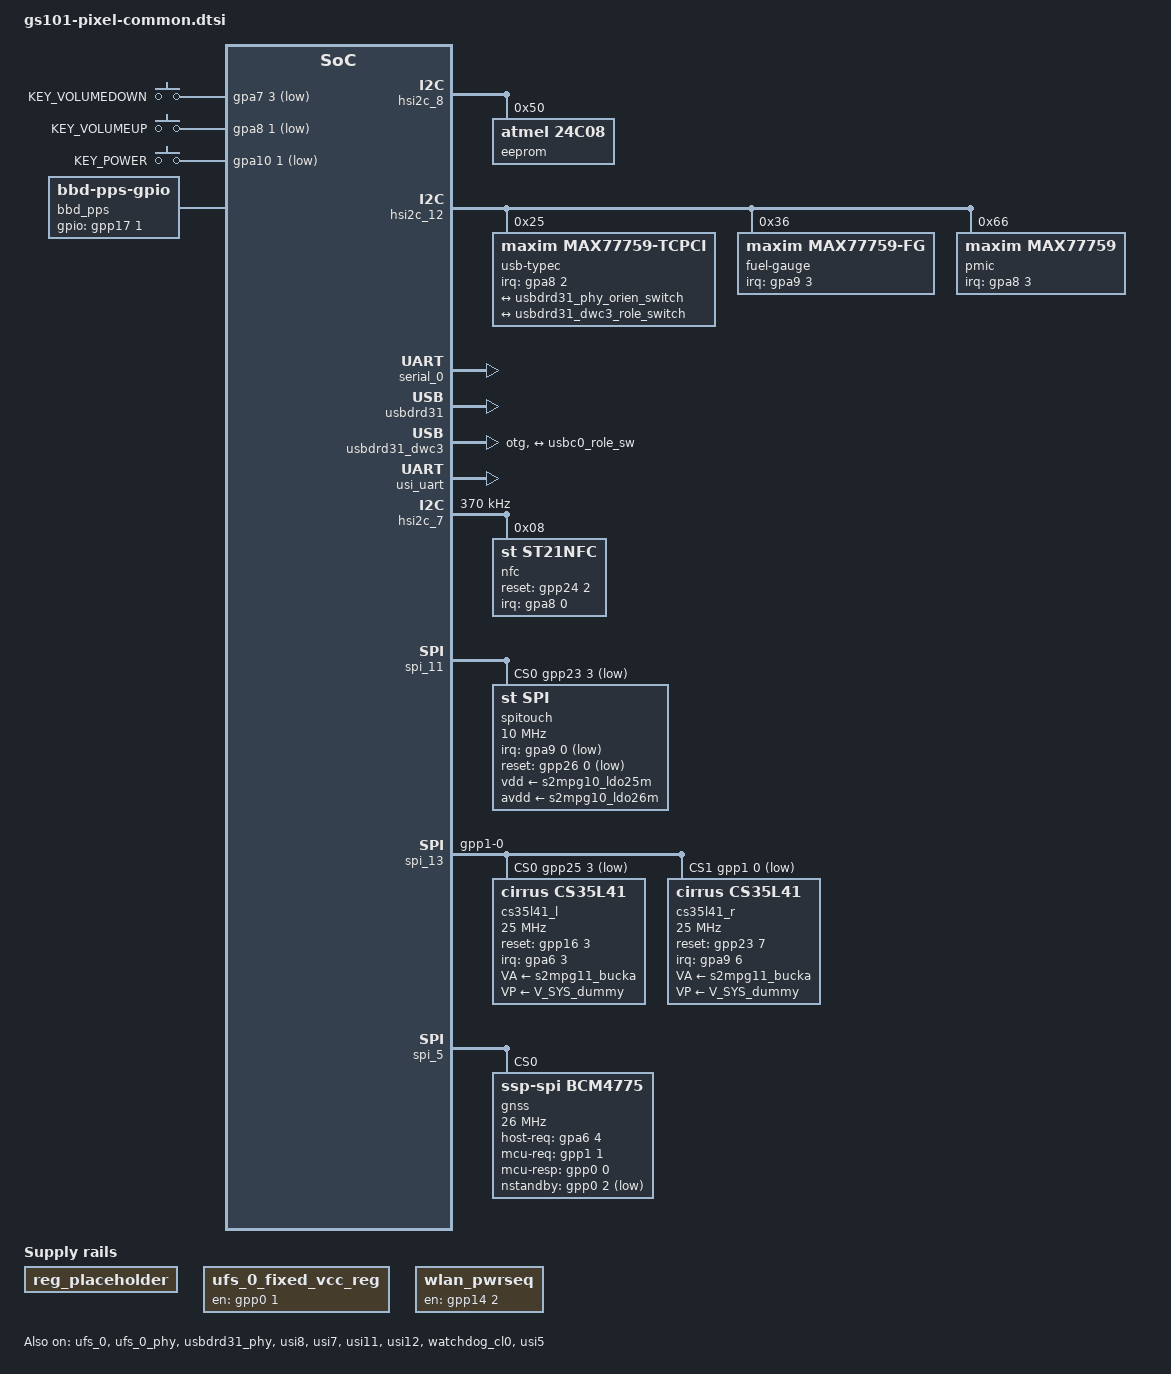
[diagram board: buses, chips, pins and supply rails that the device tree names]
// SPDX-License-Identifier: GPL-2.0-only
/*
 * Device Tree nodes common for all GS101-based Pixel
 *
 * Copyright 2021-2023 Google LLC
 * Copyright 2023 Linaro Ltd - <peter.griffin@linaro.org>
 */

/dts-v1/;

#include <dt-bindings/gpio/gpio.h>
#include <dt-bindings/input/input.h>
#include <dt-bindings/regulator/samsung,s2mpg10-regulator.h>
#include <dt-bindings/usb/pd.h>
#include "gs101-pinctrl.h"
#include "gs101.dtsi"
#include "gs101-audio.dtsi"
#include "gs101-cp-rmem.dtsi"
#include "gs101-cp-nodes.dtsi"
#include "gs101-cp-spi.dtsi"

/ {
	aliases {
		serial0 = &serial_0;
	};

	chosen {
		/* Bootloader expects bootargs specified otherwise it crashes */
		bootargs = "";
		stdout-path = &serial_0;

		/* Use display framebuffer as setup by bootloader */
		framebuffer0: framebuffer-0 {
			compatible = "simple-framebuffer";
			memory-region = <&cont_splash_mem>;
			vci-supply = <&s2mpg10_ldo22m>;
			vddi-supply = <&s2mpg11_bucka>;
			/* format properties to be added by actual board */
			status = "disabled";
		};
	};

	gpio-keys {
		compatible = "gpio-keys";
		pinctrl-0 = <&key_voldown>, <&key_volup>, <&key_power>;
		pinctrl-names = "default";

		button-vol-down {
			label = "KEY_VOLUMEDOWN";
			linux,code = <KEY_VOLUMEDOWN>;
			gpios = <&gpa7 3 GPIO_ACTIVE_LOW>;
			wakeup-source;
		};

		button-vol-up {
			label = "KEY_VOLUMEUP";
			linux,code = <KEY_VOLUMEUP>;
			gpios = <&gpa8 1 GPIO_ACTIVE_LOW>;
			wakeup-source;
		};

		button-power {
			label = "KEY_POWER";
			linux,code = <KEY_POWER>;
			gpios = <&gpa10 1 GPIO_ACTIVE_LOW>;
			wakeup-source;
		};
	};

	reboot-mode {
		compatible = "nvmem-reboot-mode";
		nvmem-cells = <&nvmem_reboot_mode>;
		nvmem-cell-names = "reboot-mode";
		mode-bootloader = <0x800000fc>;
		mode-charge = <0x8000000a>;
		mode-dm-verity-device-corrupted = <0x80000050>;
		mode-fastboot = <0x800000fa>;
		mode-reboot-ab-update = <0x80000052>;
		mode-recovery = <0x800000ff>;
		mode-rescue = <0x800000f9>;
		mode-shutdown-thermal = <0x80000051>;
		mode-shutdown-thermal-battery = <0x80000051>;
	};

	/* TODO: Remove this once PMIC is implemented  */
	reg_placeholder: regulator-0 {
		compatible = "regulator-fixed";
		regulator-name = "placeholder_reg";
	};

	/* TODO: Remove this once S2MPG11 slave PMIC is implemented  */
	ufs_0_fixed_vcc_reg: regulator-1 {
		compatible = "regulator-fixed";
		regulator-name = "ufs-vcc";
		gpio = <&gpp0 1 GPIO_ACTIVE_HIGH>;
		regulator-boot-on;
		enable-active-high;
	};

	/*
	 * WLAN power enable (BCM4389 on PCIe HSI2). The vendor "wl_reg_on"
	 * GPIO; drive it on so the endpoint is powered before the PCIe link
	 * trains. always-on because there is no bcmdhd driver to toggle it.
	 */
	wlan_pwrseq: regulator-wlan {
		compatible = "regulator-fixed";
		regulator-name = "wlan-en";
		gpio = <&gpp14 2 GPIO_ACTIVE_HIGH>;
		enable-active-high;
		regulator-always-on;
		regulator-boot-on;
	};

	reserved-memory {
		cont_splash_mem: splash@fac00000 {
			/* size to be updated by actual board */
			reg = <0x0 0xfac00000 0x0>;
			no-map;
			status = "disabled";
		};
	};
};

&acpm_ipc {
	pmic-1 {
		compatible = "samsung,s2mpg10-pmic";
		interrupts-extended = <&gpa0 6 IRQ_TYPE_LEVEL_LOW>;
		pinctrl-names = "default";
		pinctrl-0 = <&pmic_int>;
		system-power-controller;
		wakeup-source;

		vinl1m-supply = <&s2mpg11_buck3s>;
		vinl2m-supply = <&s2mpg11_buck3s>;
		vinl3m-supply = <&s2mpg10_buck8m>;
		vinl4m-supply = <&s2mpg10_buck9m>;
		vinl5m-supply = <&s2mpg10_buck9m>;
		vinl6m-supply = <&s2mpg10_buck9m>;
		vinl7m-supply = <&s2mpg11_buck6s>;
		vinl8m-supply = <&s2mpg11_buck6s>;
		vinl9m-supply = <&s2mpg11_buck7s>;
		vinl10m-supply = <&s2mpg11_buck7s>;
		vinl11m-supply = <&s2mpg11_buck7s>;
		vinl12m-supply = <&s2mpg11_bucka>;
		vinl13m-supply = <&s2mpg11_bucka>;
		vinl14m-supply = <&s2mpg11_buckboost>;
		vinl15m-supply = <&s2mpg11_buckboost>;

		clocks {
			compatible = "samsung,s2mpg10-clk";
			#clock-cells = <1>;
			clock-output-names = "rtc32k_ap", "peri32k1",
					     "peri32k2";
		};

		regulators {
			buck1m {
				regulator-name = "vdd_mif";
				regulator-min-microvolt = <450000>;
				regulator-max-microvolt = <1300000>;
				regulator-ramp-delay = <6250>;
				regulator-always-on;
				samsung,ext-control = <S2MPG10_EXTCTRL_PWREN_MIF>;
			};

			buck2m {
				regulator-name = "vdd_cpucl2";
				regulator-min-microvolt = <450000>;
				regulator-max-microvolt = <1300000>;
				regulator-ramp-delay = <12500>;
				regulator-always-on;
				samsung,ext-control = <S2MPG10_EXTCTRL_CPUCL2_EN2>;
			};

			buck3m {
				regulator-name = "vdd_cpucl1";
				regulator-min-microvolt = <450000>;
				regulator-max-microvolt = <1300000>;
				regulator-ramp-delay = <12500>;
				regulator-always-on;
				samsung,ext-control = <S2MPG10_EXTCTRL_CPUCL1_EN2>;
			};

			buck4m {
				regulator-name = "vdd_cpucl0";
				regulator-min-microvolt = <450000>;
				regulator-max-microvolt = <1300000>;
				regulator-ramp-delay = <12500>;
				regulator-always-on;
				samsung,ext-control = <S2MPG10_EXTCTRL_PWREN>;
			};

			buck5m {
				regulator-name = "vdd_int";
				regulator-min-microvolt = <450000>;
				regulator-max-microvolt = <1300000>;
				regulator-ramp-delay = <12500>;
				regulator-always-on;
				samsung,ext-control = <S2MPG10_EXTCTRL_PWREN_MIF>;
			};

			buck6m {
				regulator-name = "vdd_cpucl2_m";
				regulator-min-microvolt = <450000>;
				regulator-max-microvolt = <1350000>;
				regulator-ramp-delay = <12500>;
				regulator-always-on;
				samsung,ext-control = <S2MPG10_EXTCTRL_CPUCL2_EN2>;
			};

			buck7m_reg: buck7m {
				/* GPU */
				regulator-name = "vdd_int_m";
				regulator-min-microvolt = <450000>;
				regulator-max-microvolt = <1300000>;
				regulator-ramp-delay = <6250>;
				regulator-always-on;
				samsung,ext-control = <S2MPG10_EXTCTRL_PWREN_MIF>;
			};

			s2mpg10_buck8m: buck8m {
				regulator-name = "lldo2";
				regulator-min-microvolt = <450000>;
				regulator-max-microvolt = <1300000>;
				regulator-ramp-delay = <6250>;
				// needs to be on during boot, until all consumers have
				// probed and established their links to this
				regulator-boot-on;
			};

			s2mpg10_buck9m: buck9m {
				regulator-name = "lldo3";
				regulator-min-microvolt = <450000>;
				regulator-max-microvolt = <1300000>;
				regulator-ramp-delay = <6250>;
				// needs to be on during boot, until all consumers have
				// probed and established their links to this
				regulator-boot-on;
			};

			buck10m {
				regulator-name = "vdd_tpu";
				regulator-min-microvolt = <450000>;
				regulator-max-microvolt = <1300000>;
				regulator-ramp-delay = <12500>;
				regulator-always-on;
				samsung,ext-control = <S2MPG10_EXTCTRL_TPU_EN>;
			};

			ldo1m {
				/* ALIVE, AOC PLL */
				regulator-name = "vdd_l1m_alive";
				regulator-min-microvolt = <700000>;
				regulator-max-microvolt = <1300000>;
				regulator-ramp-delay = <6250>;
				regulator-always-on;
			};

			ldo2m {
				/* lots, DDR */
				regulator-name = "vdd_l2m_alive";
				regulator-min-microvolt = <1600000>;
				regulator-max-microvolt = <1950000>;
				regulator-always-on;
			};

			ldo3m {
				/* AVDD: MIPI CSI & DSI, PLL: CPUCL SHARED TPU UFS */
				regulator-name = "ldo3m";
				regulator-min-microvolt = <725000>;
				regulator-max-microvolt = <1300000>;
				regulator-always-on;
				samsung,ext-control = <S2MPG10_EXTCTRL_PWREN_MIF>;
			};

			ldo4m {
				/* AVDD: MIPI CSI & DSI, UFS, OTP, TS_SUB, TS_TOP, XOTP */
				regulator-name = "ldo4m";
				regulator-min-microvolt = <1600000>;
				regulator-max-microvolt = <1950000>;
				regulator-always-on;
				samsung,ext-control = <S2MPG10_EXTCTRL_PWREN_MIF>;
			};

			ldo5m {
				/* VDD: ADD, AVDD: TCXO & TCXO_FAR */
				regulator-name = "avdd075_tcxo";
				regulator-min-microvolt = <725000>;
				regulator-max-microvolt = <1300000>;
				regulator-always-on;
				samsung,ext-control = <S2MPG10_EXTCTRL_TCXO_ON>;
			};

			ldo6m {
				/* PLL CPUCL & MIFx, UFS clk, MIPI DSI */
				regulator-name = "vdd_pll";
				regulator-min-microvolt = <725000>;
				regulator-max-microvolt = <1300000>;
				regulator-always-on;
				samsung,ext-control = <S2MPG10_EXTCTRL_PWREN_MIF>;
			};

			ldo7m {
				/* IO (HSI (USB)) */
				regulator-name = "vdd_hsi";
				regulator-min-microvolt = <450000>;
				regulator-max-microvolt = <950000>;
				regulator-ramp-delay = <6250>;
				/*
				 * TODO: link to HSI power domain, without this,
				 * Linux hangs during USB access.
				 */
				regulator-always-on;
			};

			ldo8m {
				regulator-name = "vdd085_usb";
				regulator-min-microvolt = <725000>;
				regulator-max-microvolt = <1300000>;
				regulator-always-on;
			};

			ldo9m {
				regulator-name = "vdd18_usb";
				regulator-min-microvolt = <1600000>;
				regulator-max-microvolt = <1950000>;
				regulator-always-on;
			};

			ldo10m {
				regulator-name = "vdd33_usb";
				regulator-min-microvolt = <1800000>;
				regulator-max-microvolt = <3350000>;
				regulator-always-on;
			};

			ldo11m {
				regulator-name = "vdd_cpucl1_m";
				regulator-min-microvolt = <700000>;
				regulator-max-microvolt = <1300000>;
				regulator-ramp-delay = <6250>;
				regulator-always-on;
				samsung,ext-control = <S2MPG10_EXTCTRL_CPUCL1_EN2>;
			};

			ldo12m {
				regulator-name = "vdd_cpucl0_m";
				regulator-min-microvolt = <700000>;
				regulator-max-microvolt = <1300000>;
				regulator-ramp-delay = <6250>;
				regulator-always-on;
				samsung,ext-control = <S2MPG10_EXTCTRL_PWREN>;
			};

			ldo13m {
				regulator-name = "vdd_tpu_m";
				regulator-min-microvolt = <450000>;
				regulator-max-microvolt = <950000>;
				regulator-ramp-delay = <12500>;
				regulator-always-on;
				samsung,ext-control = <S2MPG10_EXTCTRL_TPU_EN>;
			};

			/* ldo14m is board specific */

			ldo15m {
				regulator-name = "vdd_slc_m";
				regulator-min-microvolt = <450000>;
				regulator-max-microvolt = <950000>;
				regulator-ramp-delay = <12500>;
				regulator-always-on;
			};

			ldo16m {
				regulator-name = "vdd085_pcie0";
				regulator-min-microvolt = <725000>;
				regulator-max-microvolt = <1300000>;
			};

			ldo17m {
				regulator-name = "vdd085_pcie1";
				regulator-min-microvolt = <725000>;
				regulator-max-microvolt = <1300000>;
			};

			ldo18m {
				regulator-name = "vdd18_pcie0";
				regulator-min-microvolt = <1600000>;
				regulator-max-microvolt = <1950000>;
			};

			ldo19m {
				regulator-name = "vdd18_pcie1";
				regulator-min-microvolt = <1600000>;
				regulator-max-microvolt = <1950000>;
			};

			ldo20m {
				/* DMIC, memory power */
				regulator-name = "vddq_aoc_pdm";
				regulator-min-microvolt = <1600000>;
				regulator-max-microvolt = <1950000>;
				regulator-always-on;
				samsung,ext-control = <S2MPG10_EXTCTRL_LDO20M_EN2>;
			};

			ldo21m {
				/* Dauntless  */
				regulator-name = "vdd_dtls";
				regulator-min-microvolt = <2500000>;
				regulator-max-microvolt = <3300000>;
				regulator-always-on;
			};

			s2mpg10_ldo22m: ldo22m {
				/* display */
				regulator-name = "vci_disp";
				regulator-min-microvolt = <3025000>;
				regulator-max-microvolt = <3025000>;
			};

			/* ldo23m & ldo24m are unused */

			s2mpg10_ldo25m: ldo25m {
				/* touch */
				regulator-name = "dvdd_tsp";
				regulator-min-microvolt = <1600000>;
				regulator-max-microvolt = <1950000>;
			};

			s2mpg10_ldo26m: ldo26m {
				/* touch */
				regulator-name = "avdd_ts";
				regulator-min-microvolt = <2500000>;
				regulator-max-microvolt = <3300000>;
			};

			ldo27m {
				/* under-display fingerprint scanner */
				regulator-name = "avdd_udfps";
				regulator-min-microvolt = <2500000>;
				regulator-max-microvolt = <3300000>;
			};

			/*
			 *ldo28m .. ldo30m are unused, ldo31m is board specific
			 */
		};
	};

	pmic-2 {
		compatible = "samsung,s2mpg11-pmic";
		interrupts-extended = <&gpa0 7 IRQ_TYPE_LEVEL_LOW>;
		pinctrl-names = "default";
		pinctrl-0 = <&sub_pmic_int>;
		wakeup-source;

		vinl1s-supply = <&s2mpg10_buck8m>;
		vinl2s-supply = <&s2mpg11_buck6s>;
		vinl3s-supply = <&s2mpg11_buck7s>;
		vinl4s-supply = <&s2mpg11_buck7s>;
		vinl5s-supply = <&s2mpg11_buckboost>;
		vinl6s-supply = <&s2mpg11_buckboost>;
		vinbd-supply = <&s2mpg11_buckboost>;

		regulators {
			buck1s {
				/* multimedia */
				regulator-name = "vdd_cam";
				regulator-min-microvolt = <450000>;
				regulator-max-microvolt = <1300000>;
				regulator-ramp-delay = <12500>;
				regulator-always-on;
				samsung,ext-control = <S2MPG11_EXTCTRL_PWREN_MIF>;
			};

			buck2s_reg: buck2s {
				regulator-name = "vdd_g3d";
				regulator-min-microvolt = <450000>;
				regulator-max-microvolt = <1300000>;
				regulator-ramp-delay = <12500>;
				regulator-always-on;
				samsung,ext-control = <S2MPG11_EXTCTRL_G3D_EN>;
			};

			s2mpg11_buck3s: buck3s {
				regulator-name = "lldo1";
				regulator-min-microvolt = <450000>;
				regulator-max-microvolt = <1300000>;
				regulator-ramp-delay = <6250>;
			};

			buck4s {
				/* DDR */
				regulator-name = "vdd2h_mem";
				regulator-min-microvolt = <450000>;
				regulator-max-microvolt = <1300000>;
				regulator-ramp-delay = <6250>;
				regulator-always-on;
			};

			buck5s {
				/* DDR */
				regulator-name = "vddq_mem";
				regulator-min-microvolt = <400000>;
				regulator-max-microvolt = <1300000>;
				regulator-ramp-delay = <6250>;
				regulator-always-on;
				samsung,ext-control = <S2MPG11_EXTCTRL_PWREN_MIF>;
			};

			s2mpg11_buck6s: buck6s {
				regulator-name = "lldo4";
				regulator-min-microvolt = <1000000>;
				regulator-max-microvolt = <1500000>;
				regulator-ramp-delay = <6250>;
			};

			s2mpg11_buck7s: buck7s {
				regulator-name = "mldo";
				regulator-min-microvolt = <1500000>;
				regulator-max-microvolt = <2200000>;
				regulator-ramp-delay = <6250>;
			};

			buck8s_reg: buck8s {
				regulator-name = "vdd_g3d_l2";
				regulator-min-microvolt = <450000>;
				regulator-max-microvolt = <1300000>;
				regulator-ramp-delay = <12500>;
				regulator-always-on;
				samsung,ext-control = <S2MPG11_EXTCTRL_G3D_EN>;
			};

			buck9s {
				regulator-name = "vdd_aoc";
				regulator-min-microvolt = <450000>;
				regulator-max-microvolt = <1300000>;
				regulator-ramp-delay = <12500>;
				regulator-always-on;
			};

			buck10s {
				/* DDR */
				regulator-name = "vdd2l_mem";
				regulator-min-microvolt = <450000>;
				regulator-max-microvolt = <1300000>;
				regulator-ramp-delay = <6250>;
				regulator-always-on;
			};

			buckd {
				regulator-name = "vcc_ufs";
				regulator-min-microvolt = <2400000>;
				regulator-max-microvolt = <3300000>;
				regulator-ramp-delay = <6250>;
				regulator-always-on;
				samsung,ext-control = <S2MPG11_EXTCTRL_UFS_EN>;
			};

			s2mpg11_bucka: bucka {
				/* lots, IO */
				regulator-name = "bucka";
				regulator-min-microvolt = <1700000>;
				regulator-max-microvolt = <2100000>;
				regulator-ramp-delay = <6250>;
				regulator-always-on;
			};

			s2mpg11_buckboost: buckboost {
				regulator-name = "buckboost";
				regulator-min-microvolt = <3000000>;
				regulator-max-microvolt = <3600000>;
			};

			ldo1s_reg: ldo1s {
				regulator-name = "vdd_g3d_m";
				regulator-min-microvolt = <450000>;
				regulator-max-microvolt = <950000>;
				regulator-ramp-delay = <6250>;
				regulator-always-on;
				samsung,ext-control = <S2MPG11_EXTCTRL_G3D_EN>;
			};

			ldo2s {
				regulator-name = "vdd_aoc_ret";
				regulator-min-microvolt = <450000>;
				regulator-max-microvolt = <950000>;
				regulator-ramp-delay = <12500>;
				regulator-always-on;
			};

			/* ldo3s & ldo5s are unused, ldo4s is board specific */

			s2mpg11_ldo6s: ldo6s {
				/* sensors */
				regulator-name = "vdd_prox";
				regulator-min-microvolt = <2500000>;
				regulator-max-microvolt = <3300000>;
			};

			s2mpg11_ldo7s: ldo7s {
				/* sensors */
				regulator-name = "vdd_sensors";
				regulator-min-microvolt = <1600000>;
				regulator-max-microvolt = <1950000>;
			};

			ldo8s {
				regulator-name = "vccq_ufs";
				regulator-min-microvolt = <1130400>;
				regulator-max-microvolt = <1281200>;
				regulator-always-on;
				samsung,ext-control = <S2MPG11_EXTCTRL_UFS_EN>;
			};

			ldo9s {
				regulator-name = "vdd_gnss";
				regulator-min-microvolt = <725000>;
				regulator-max-microvolt = <1300000>;
			};

			ldo10s {
				regulator-name = "vdd_gnss_rf";
				regulator-min-microvolt = <1600000>;
				regulator-max-microvolt = <1950000>;
			};

			ldo11s {
				regulator-name = "vdd_gnss_aux";
				regulator-min-microvolt = <1600000>;
				regulator-max-microvolt = <1950000>;
			};

			/* ldo12s is unused */

			ldo13s {
				regulator-name = "vddq_mmc";
				regulator-min-microvolt = <1800000>;
				regulator-max-microvolt = <3350000>;
				regulator-always-on;
				samsung,ext-control = <S2MPG11_EXTCTRL_LDO13S_EN>;
			};

			/* ldo14s is board specific, ldo15s is unused */
		};
	};
};

&ext_24_5m {
	clock-frequency = <24576000>;
};

&ext_200m {
	clock-frequency = <200000000>;
};

&hsi2c_8 {
	status = "okay";

	eeprom: eeprom@50 {
		compatible = "atmel,24c08";
		reg = <0x50>;
	};
};

&gpu {
     mali-supply = <&buck2s_reg>;
     buck8s-supply = <&buck8s_reg>;
     ldo1s-supply = <&ldo1s_reg>;
     buck7m-supply = <&buck7m_reg>;
};

&hsi2c_12 {
	status = "okay";
	/* TODO: add the devices once drivers exist */

	usb-typec@25 {
		compatible = "maxim,max77759-tcpci", "maxim,max33359";
		reg = <0x25>;
		interrupts-extended = <&gpa8 2 IRQ_TYPE_LEVEL_LOW>;
		pinctrl-0 = <&typec_int>;
		pinctrl-names = "default";

		connector {
			compatible = "usb-c-connector";
			label = "USB-C";
			data-role = "dual";
			power-role = "dual";
			self-powered;
			try-power-role = "sink";
			op-sink-microwatt = <2600000>;
			slow-charger-loop;
			/*
			 * max77759 operating in reverse boost mode (0xA) can
			 * source up to 1.5A while extboost can only do ~1A.
			 * Since extboost is the primary path, advertise 900mA.
			 */
			source-pdos = <PDO_FIXED(5000, 900,
						 (PDO_FIXED_SUSPEND
						  | PDO_FIXED_USB_COMM
						  | PDO_FIXED_DATA_SWAP
						  | PDO_FIXED_DUAL_ROLE))>;
			sink-pdos = <PDO_FIXED(5000, 3000,
					       (PDO_FIXED_DATA_SWAP
						| PDO_FIXED_USB_COMM
						| PDO_FIXED_HIGHER_CAP
						| PDO_FIXED_DUAL_ROLE))
				     PDO_FIXED(9000, 2200, 0)
				     PDO_PPS_APDO(5000, 11000, 3000)>;
			sink-vdos = <VDO_IDH(1, 1, IDH_PTYPE_PERIPH, 0,
					     IDH_PTYPE_DFP_HOST, 2, 0x18d1)
				     VDO_CERT(0x0)
				     VDO_PRODUCT(0x4ee1, 0x0)
				     VDO_UFP(UFP_VDO_VER1_2,
					     (DEV_USB2_CAPABLE
					      | DEV_USB3_CAPABLE),
					     UFP_RECEPTACLE, 0,
					     AMA_VCONN_NOT_REQ, 0,
					     UFP_ALTMODE_NOT_SUPP,
					     UFP_USB32_GEN1)
				     /* padding */ 0
				     VDO_DFP(DFP_VDO_VER1_1,
					     (HOST_USB2_CAPABLE
					      | HOST_USB3_CAPABLE),
					     DFP_RECEPTACLE, 0)>;
			sink-vdos-v1 = <VDO_IDH(1, 1, IDH_PTYPE_PERIPH, 0,
						0, 0, 0x18d1)
					VDO_CERT(0x0)
					VDO_PRODUCT(0x4ee1, 0x0)>;
			/*
			 * Until bootloader is updated to set those two when
			 * console is enabled, we disable PD here.
			 */
			pd-disable;
			typec-power-opmode = "default";

			ports {
				#address-cells = <1>;
				#size-cells = <0>;

				port@0 {
					reg = <0>;

					usbc0_orien_sw: endpoint {
						remote-endpoint = <&usbdrd31_phy_orien_switch>;
					};
				};

				port@1 {
					reg = <1>;

					usbc0_role_sw: endpoint {
						remote-endpoint = <&usbdrd31_dwc3_role_switch>;
					};
				};
			};
		};
	};

	fuel-gauge@36 {
		compatible = "maxim,max77759-fg";
		reg = <0x36>;

		pinctrl-0 = <&if_pmic_fg_int>;
		pinctrl-names = "default";
		interrupts-extended = <&gpa9 3 IRQ_TYPE_LEVEL_LOW>;

		shunt-resistor-micro-ohms = <5000>;
	};

	pmic@66 {
		compatible = "maxim,max77759";
		reg = <0x66>;

		pinctrl-0 = <&if_pmic_int>;
		pinctrl-names = "default";
		interrupts-extended = <&gpa8 3 IRQ_TYPE_LEVEL_LOW>;

		interrupt-controller;
		#interrupt-cells = <2>;

		gpio {
			compatible = "maxim,max77759-gpio";

			gpio-controller;
			#gpio-cells = <2>;
			/*
			 * "Human-readable name [SIGNAL_LABEL]" where the
			 * latter comes from the schematic
			 */
			gpio-line-names = "OTG boost [OTG_BOOST_EN]",
					  "max20339 IRQ [MW_OVP_INT_L]";

			interrupt-controller;
			#interrupt-cells = <2>;
		};

		nvmem-0 {
			compatible = "maxim,max77759-nvmem";

			nvmem-layout {
				compatible = "fixed-layout";
				#address-cells = <1>;
				#size-cells = <1>;

				nvmem_reboot_mode: reboot-mode@0 {
					reg = <0x0 0x4>;
				};

				boot-reason@4 {
					reg = <0x4 0x4>;
				};

				shutdown-user-flag@8 {
					reg = <0x8 0x1>;
				};

				rsoc@a {
					reg = <0xa 0x2>;
				};
			};
		};
	};
};

&pinctrl_far_alive {
	/*
	 * gpa8 belongs to this controller, not pinctrl_gpio_alive where this
	 * node used to sit. Declared there, the group was never registered
	 * ("174d0000.pinctrl: does not have pin group gpa8-6") and the AoC
	 * interrupt line was left unconfigured.
	 */
	aoc2ap_irq: aoc2ap-irq {
		samsung,pins = "gpa8-6";
		samsung,pin-function = <GS101_PIN_FUNC_EINT>;
		samsung,pin-pud = <GS101_PIN_PULL_DOWN>;
		samsung,pin-drv = <GS101_PIN_DRV_2_5_MA>;
	};

	key_voldown: key-voldown-pins {
		samsung,pins = "gpa7-3";
		samsung,pin-function = <GS101_PIN_FUNC_EINT>;
		samsung,pin-pud = <GS101_PIN_PULL_NONE>;
		samsung,pin-drv = <GS101_PIN_DRV_2_5_MA>;
	};

	key_volup: key-volup-pins {
		samsung,pins = "gpa8-1";
		samsung,pin-function = <GS101_PIN_FUNC_EINT>;
		samsung,pin-pud = <GS101_PIN_PULL_NONE>;
		samsung,pin-drv = <GS101_PIN_DRV_2_5_MA>;
	};

	typec_int: typec-int-pins {
		samsung,pins = "gpa8-2";
		samsung,pin-function = <GS101_PIN_FUNC_EINT>;
		samsung,pin-pud = <GS101_PIN_PULL_UP>;
		samsung,pin-drv = <GS101_PIN_DRV_2_5_MA>;
	};

	if_pmic_int: if-pmic-int-pins {
		samsung,pins = "gpa8-3";
		samsung,pin-function = <GS101_PIN_FUNC_EINT>;
		samsung,pin-pud = <GS101_PIN_PULL_UP>;
		samsung,pin-drv = <GS101_PIN_DRV_2_5_MA>;
	};
};

&pinctrl_gpio_alive {
	pmic_int: pmic-int-pins {
		samsung,pins = "gpa0-6";
		samsung,pin-function = <GS101_PIN_FUNC_EINT>;
		samsung,pin-pud = <GS101_PIN_PULL_NONE>;
	};

	sub_pmic_int: sub-pmic-int-pins {
		samsung,pins = "gpa0-7";
		samsung,pin-function = <GS101_PIN_FUNC_EINT>;
		samsung,pin-pud = <GS101_PIN_PULL_NONE>;
	};

	if_pmic_fg_int: if-pmic-fg-int-pins {
		samsung,pins = "gpa9-3";
		samsung,pin-function = <GS101_PIN_FUNC_EINT>;
		samsung,pin-pud = <GS101_PIN_PULL_UP>;
		samsung,pin-drv = <GS101_PIN_DRV_2_5_MA>;
	};

	key_power: key-power-pins {
		samsung,pins = "gpa10-1";
		samsung,pin-function = <GS101_PIN_FUNC_EINT>;
		samsung,pin-pud = <GS101_PIN_PULL_NONE>;
		samsung,pin-drv = <GS101_PIN_DRV_2_5_MA>;
	};
	ts_irq: ts-irq {
		samsung,pins = "gpa9-0";
		samsung,pin-function = <GS101_PIN_FUNC_EINT>;
		samsung,pin-pud = <GS101_PIN_PULL_NONE>;
		samsung,pin-drv = <GS101_PIN_DRV_2_5_MA>;
	};
};

&pinctrl_peric1 {
	ts_reset: ts-reset {
		samsung,pins = "gpp26-0";
		samsung,pin-pud = <GS101_PIN_PULL_NONE>;
		samsung,pin-con-pdn = <GS101_PIN_PDN_PREV>;
		samsung,pin-pud-pdn = <GS101_PIN_PULL_NONE>;
	};
	ap2aoc: ap2aoc {
		samsung,pins = "gpp26-1";
		samsung,pin-pud = <GS101_PIN_PULL_NONE>;
		samsung,pin-con-pdn = <GS101_PIN_PDN_PREV>;
		samsung,pin-pud-pdn = <GS101_PIN_PULL_NONE>;
	};
};

&serial_0 {
	status = "okay";
};

&ufs_0 {
	status = "okay";
	vcc-supply = <&ufs_0_fixed_vcc_reg>;
};

&ufs_0_phy {
	status = "okay";
};

&usbdrd31 {
	vdd10-supply = <&reg_placeholder>;
	vdd33-supply = <&reg_placeholder>;
	status = "okay";
};

&usbdrd31_dwc3 {
	dr_mode = "otg";
	usb-role-switch;
	role-switch-default-mode = "peripheral";
	maximum-speed = "super-speed-plus";
	status = "okay";

	port {
		usbdrd31_dwc3_role_switch: endpoint {
			remote-endpoint = <&usbc0_role_sw>;
		};
	};
};

&usbdrd31_phy {
	orientation-switch;
	/* TODO: Update these once PMIC is implemented */
	pll-supply = <&reg_placeholder>;
	dvdd-usb20-supply = <&reg_placeholder>;
	vddh-usb20-supply = <&reg_placeholder>;
	vdd33-usb20-supply = <&reg_placeholder>;
	vdda-usbdp-supply = <&reg_placeholder>;
	vddh-usbdp-supply = <&reg_placeholder>;
	status = "okay";

	port {
		usbdrd31_phy_orien_switch: endpoint {
			remote-endpoint = <&usbc0_orien_sw>;
		};
	};
};

&usi_uart {
	samsung,clkreq-on; /* needed for UART mode */
	status = "okay";
};

&usi8 {
	samsung,mode = <USI_MODE_I2C>;
	status = "okay";
};

&usi7 {
	samsung,mode = <USI_MODE_I2C>;
	status = "okay";
};

&usi11 {
	samsung,mode = <USI_MODE_SPI>;
	status = "okay";
};

&usi12 {
	samsung,mode = <USI_MODE_I2C>;
	status = "okay";
};

/*
 * NFC. The silicon is an ST54J (an ST21NFC controller with an embedded secure
 * element); it binds "st,st21nfc" all the same. The vendor drives it with its
 * own driver and extra properties -- a PMU reference clock, a clock-request
 * line, a power-idle line (gs101-whitefin-nfc.dtsi). Those turned out not to
 * be needed: with just the reset GPIO the chip talks NCI and reports its full
 * protocol set (Felica, MIFARE, Jewel, ISO-DEP, NFC-DEP, ISO-15693).
 *
 * What does not work is nfc_dev_up, which fails at secure-element discovery:
 * st_nci_hci_network_init floods proprietary notifications (opcode 0xe3e) and
 * times out. That path is only for the SE, whose protocol is Google's own, so
 * st_nci_discover_se() is patched to skip it when no SE is declared here --
 * which is why this node declares none. Reader and host-card-emulation are
 * pure NCI and do not need the SE.
 */
&hsi2c_7 {
	#address-cells = <1>;
	#size-cells = <0>;
	clock-frequency = <370000>;
	status = "okay";

	nfc@8 {
		compatible = "st,st21nfc";
		reg = <0x08>;

		interrupt-parent = <&gpa8>;
		interrupts = <0 IRQ_TYPE_LEVEL_HIGH>;
		reset-gpios = <&gpp24 2 GPIO_ACTIVE_HIGH>;
	};
};

&watchdog_cl0 {
	timeout-sec = <30>;
	status = "okay";
};

&spi_11 {
	#address-cells = <1>;
	#size-cells = <0>;
	status = "okay";
	pinctrl-0 = <>;
	cs-gpios = <&gpp23 3 GPIO_ACTIVE_LOW>;
	num-cs = <1>;
	spitouch: touchscreen@0 {
		compatible = "st,spi";
		status = "okay";
		spi-max-frequency = <10000000>;
		reg = <0>;
		pinctrl-names = "pmx_ts_active", "pmx_ts_suspend";
		pinctrl-0 = <&ts_irq &ts_reset &ap2aoc &aoc2ap_irq
			     &spi11_bus &spi11_cs>;
		pinctrl-1 = <&ts_irq &ts_reset &ap2aoc &aoc2ap_irq
			     &spi11_bus &spi11_cs>;
		fts,irq-gpio = <&gpa9 0 GPIO_ACTIVE_LOW>;
		fts,irq-flags = <0x2008>; /* IRQF_TRIGGER_LOW | IRQF_ONESHOT */
		fts,reset-gpio-enable;
		fts,reset-gpio = <&gpp26 0 GPIO_ACTIVE_LOW>;
		fts,bus-reg-name = "vdd";
		fts,pwr-reg-name = "avdd";
		vdd-supply = <&s2mpg10_ldo25m>;
		avdd-supply = <&s2mpg10_ldo26m>;
		controller-data {
			samsung,spi-feedback-delay = <1>;
			samsung,spi-chip-select-mode = <0>;
			cs-clock-delay = <2>;
		};
	};
};

/*
 * CS35L41 speaker amplifiers on SPI13 (USI13). Pin assignments taken from
 * the vendor kernel (gs101-raviole-audio.dtsi). This only gets the amps to
 * probe on the SPI bus; there is no DAI link or sound card yet, so it does
 * not produce audio on its own.
 */
&pinctrl_gpio_alive {
	cs35l41_r_irq: cs35l41-r-irq-pins {
		samsung,pins = "gpa9-6"; /* XEINT_26 */
		samsung,pin-function = <GS101_PIN_FUNC_EINT>;
		samsung,pin-pud = <GS101_PIN_PULL_NONE>;
	};
};

&pinctrl_far_alive {
	cs35l41_l_irq: cs35l41-l-irq-pins {
		samsung,pins = "gpa6-3"; /* XEINT_3 */
		samsung,pin-function = <GS101_PIN_FUNC_EINT>;
		samsung,pin-pud = <GS101_PIN_PULL_NONE>;
	};
};

&pinctrl_peric0 {
	cs35l41_l_rst: cs35l41-l-rst-pins {
		samsung,pins = "gpp16-3"; /* XAPC_USI8_CTSN_CSN */
		samsung,pin-function = <GS101_PIN_FUNC_OUTPUT>;
		samsung,pin-pud = <GS101_PIN_PULL_NONE>;
	};

	cs35l41_cs2: cs35l41-cs2-pins {
		samsung,pins = "gpp1-0"; /* XAPC_GPIO2 */
		samsung,pin-function = <GS101_PIN_FUNC_OUTPUT>;
		samsung,pin-pud = <GS101_PIN_PULL_NONE>;
	};
};

&pinctrl_peric1 {
	cs35l41_r_rst: cs35l41-r-rst-pins {
		samsung,pins = "gpp23-7"; /* XAPC_USI12_CTSN_CSN */
		samsung,pin-function = <GS101_PIN_FUNC_OUTPUT>;
		samsung,pin-pud = <GS101_PIN_PULL_NONE>;
	};
};

&spi_13 {
	#address-cells = <1>;
	#size-cells = <0>;

	pinctrl-names = "default";
	pinctrl-0 = <&spi13_bus>, <&spi13_cs>, <&cs35l41_cs2>;

	/* Both chip selects are driven as GPIOs, so gpp25-3 uses spi13_cs
	 * (output function) rather than spi13_cs_func (SPI function).
	 */
	cs-gpios = <&gpp25 3 GPIO_ACTIVE_LOW>, <&gpp1 0 GPIO_ACTIVE_LOW>;
	num-cs = <2>;

	cs35l41_l: speaker-amp@0 {
		compatible = "cirrus,cs35l41";
		reg = <0>;
		#sound-dai-cells = <1>;
		cirrus,subsystem-id = "oriole";
		spi-max-frequency = <25000000>;

		pinctrl-names = "default";
		pinctrl-0 = <&cs35l41_l_irq>, <&cs35l41_l_rst>;

		interrupt-parent = <&gpa6>;
		/*
		 * IRQ_TYPE_NONE, not LEVEL_LOW. The cs35l41 driver sets the
		 * trigger polarity itself from the GPIO2 config (irq_pol =
		 * IRQF_TRIGGER_LOW in cs35l41_gpio_config). Pinning a concrete
		 * type here makes the fwspec mapping fail with "type mismatch,
		 * failed to map hwirq-3" when the module is (re)loaded after boot
		 * -- the type is not cleaned up on free_irq, so the second map
		 * conflicts and spi->irq becomes 0 (request_irq(0) -> -EINVAL).
		 * The vendor uses type 0 here for the same reason.
		 */
		interrupts = <3 IRQ_TYPE_NONE>;
		reset-gpios = <&gpp16 3 GPIO_ACTIVE_HIGH>;

		VA-supply = <&s2mpg11_bucka>;
		VP-supply = <&V_SYS_dummy>;

		cirrus,boost-peak-milliamp = <3500>;
		cirrus,boost-ind-nanohenry = <1000>;
		cirrus,boost-cap-microfarad = <30>;
		cirrus,asp-sdout-hiz = <3>;

		/*
		 * Drive the interrupt out of GPIO2, which is what the
		 * interrupts property above listens to. The vendor sets
		 * this through a cirrus,gpio-config2 child node; mainline
		 * spells the same thing as flat properties, so the vendor
		 * form would have been ignored silently.
		 */
		cirrus,gpio2-src-select = <0x5>;
		cirrus,gpio2-output-enable;

		controller-data {
			/*
			 * Compensate the MISO round trip. spi-s3c64xx writes
			 * FB_CLK on every message and leaves it at 0 when this
			 * node is absent, which is too tight for reads at the
			 * 25 MHz the vendor runs these amps at.
			 */
			samsung,spi-feedback-delay = <1>;
		};
	};

	cs35l41_r: speaker-amp@1 {
		compatible = "cirrus,cs35l41";
		reg = <1>;
		#sound-dai-cells = <1>;
		cirrus,subsystem-id = "oriole";
		spi-max-frequency = <25000000>;
		/* "R" prefix now comes from the aoc codec_cfg node, not here. */

		pinctrl-names = "default";
		pinctrl-0 = <&cs35l41_r_irq>, <&cs35l41_r_rst>;

		interrupt-parent = <&gpa9>;
		/* IRQ_TYPE_NONE: driver sets polarity; see cs35l41_l above. */
		interrupts = <6 IRQ_TYPE_NONE>;
		reset-gpios = <&gpp23 7 GPIO_ACTIVE_HIGH>;

		VA-supply = <&s2mpg11_bucka>;
		VP-supply = <&V_SYS_dummy>;

		cirrus,boost-peak-milliamp = <3500>;
		cirrus,boost-ind-nanohenry = <1000>;
		cirrus,boost-cap-microfarad = <30>;
		cirrus,asp-sdout-hiz = <3>;

		/*
		 * Drive the interrupt out of GPIO2, which is what the
		 * interrupts property above listens to. The vendor sets
		 * this through a cirrus,gpio-config2 child node; mainline
		 * spells the same thing as flat properties, so the vendor
		 * form would have been ignored silently.
		 */
		cirrus,gpio2-src-select = <0x5>;
		cirrus,gpio2-output-enable;

		controller-data {
			samsung,spi-feedback-delay = <1>;
		};
	};
};

&dai_be_tdm0_rx {
	codec {
		sound-dai = <&cs35l41_l 0>, <&cs35l41_r 0>;
	};
};

&dai_be_tdm0_tx {
	codec {
		sound-dai = <&cs35l41_l 0>, <&cs35l41_r 0>;
	};
};

&aoc_snd_card {
	clks {
		sys {
			sys@cs35l41_l {
				comp = <&cs35l41_l>;
				src = "BCLK";
				id = <0>;
				srcid = <0>;
				in_mul = <1>;
				out_mul = <1>;
			};

			sys@cs35l41_r {
				comp = <&cs35l41_r>;
				src = "BCLK";
				id = <0>;
				srcid = <0>;
				in_mul = <1>;
				out_mul = <1>;
			};
		};
	};

	/*
	 * Give the right cs35l41 the "R" name-prefix via the aoc card's
	 * codec_conf path (aoc_of_parse_codec_conf reads of_node + prefix).
	 * Resolves "can't find codec cfg node". The left amp stays default,
	 * matching the tune files (cs35l41-dsp1-spk-*-oriole for left,
	 * R-cs35l41-dsp1-spk-* for right). sound-name-prefix on cs35l41_r is
	 * removed so the prefix is not applied twice ("RR").
	 */
	codec_cfg {
		cs35l41_r_cfg {
			of_node = <&cs35l41_r>;
			prefix = "R";
		};
	};
};

/*
 * AoC drives the sensor rails. Without the list it logs "unsupported sensor
 * power list" and leaves them alone; the vendor names the same two LDOs in
 * gs101-common.dtsi.
 */
&aoc {
	sensor_1v8-supply = <&s2mpg11_ldo7s>;
	sensor_3v3-supply = <&s2mpg11_ldo6s>;
	sensor_power_list = "sensor_1v8", "sensor_3v3";
};

/*
 * GNSS: Broadcom BCM4775 on SPI5.
 *
 * A discrete receiver, not the integrated Kepler GNSS that arrives with zuma
 * -- which is why fw_data[GnssType] stays 0 on this SoC. Ported from the
 * vendor's gs101-common-gps.dtsi plus gs101-slider2-gps.dtsi, which is the
 * pin set gs101-raviole.dtsi pulls in for oriole and raven.
 *
 * The vendor also sets dma-mode, a pdma0 channel pair and swap-mode on the
 * controller. Those are properties of its own SPI driver; mainline's
 * spi-s3c64xx has no equivalent, so the transfers run PIO here.
 */
&usi5 {
	samsung,mode = <USI_MODE_SPI>;
	status = "okay";
};

&spi_5 {
	#address-cells = <1>;
	#size-cells = <0>;
	pinctrl-names = "default";
	pinctrl-0 = <&spi5_bus>, <&spi5_cs_func>;
	status = "okay";

	gnss: bcm4775@0 {
		compatible = "ssp-spi,bcm4775";
		reg = <0>;
		spi-max-frequency = <26000000>;
		spi-cpol;
		spi-cpha;

		pinctrl-names = "default";
		pinctrl-0 = <&gps_host_req>, <&gps_mcu_req>,
			    <&gps_mcu_resp>, <&gps_nstandby>;

		host-req-gpios = <&gpa6 4 GPIO_ACTIVE_HIGH>;
		mcu-req-gpios = <&gpp1 1 GPIO_ACTIVE_HIGH>;
		mcu-resp-gpios = <&gpp0 0 GPIO_ACTIVE_HIGH>;
		nstandby-gpios = <&gpp0 2 GPIO_ACTIVE_LOW>;

		controller-data {
			samsung,spi-feedback-delay = <1>;
		};
	};
};

/ {
	/* 1PPS output from the receiver. */
	bbd_pps {
		compatible = "bbd-pps-gpio";
		gpios = <&gpp17 1 GPIO_ACTIVE_HIGH>;
		/*
		 * assert-falling-edge is read with
		 * device_property_read_bool(), so a present property is true
		 * whatever its value. The vendor writes "= <0>" meaning "no",
		 * which reads as yes; leaving it out is how you say no.
		 */
		status = "okay";
	};
};

&pinctrl_far_alive {
	gps_host_req: gps-host-req-pins {
		samsung,pins = "gpa6-4";
		samsung,pin-function = <GS101_PIN_FUNC_EINT>;
		samsung,pin-pud = <GS101_PIN_PULL_NONE>;
	};
};

&pinctrl_peric0 {
	gps_mcu_req: gps-mcu-req-pins {
		samsung,pins = "gpp1-1";
		samsung,pin-function = <GS101_PIN_FUNC_OUTPUT>;
		samsung,pin-pud = <GS101_PIN_PULL_NONE>;
	};

	gps_mcu_resp: gps-mcu-resp-pins {
		samsung,pins = "gpp0-0";
		samsung,pin-function = <GS101_PIN_FUNC_INPUT>;
		samsung,pin-pud = <GS101_PIN_PULL_DOWN>;
	};

	gps_nstandby: gps-nstandby-pins {
		samsung,pins = "gpp0-2";
		samsung,pin-function = <GS101_PIN_FUNC_OUTPUT>;
		samsung,pin-pud = <GS101_PIN_PULL_NONE>;
	};
};

/*
 * BCM4389 WLAN on PCIe HSI2 (channel 1): powered by the always-on
 * wlan_pwrseq regulator (vpcie-supply on pcie1 in gs101.dtsi). No bcmdhd
 * DT node on purpose -- with one, bcmdhd owns wl_reg_on and runs its
 * power-cycle recovery (secondary bus reset), which on this mainline setup
 * knocks the endpoint off the bus (VID 0xffffffff) and never recovers.
 * Without a node bcmdhd assumes an always-on regulator and brings the
 * already-enumerated endpoint up cleanly -- the state that works on cold
 * boot. (This is why adding a node for kexec survival regressed cold boot.)
 */
